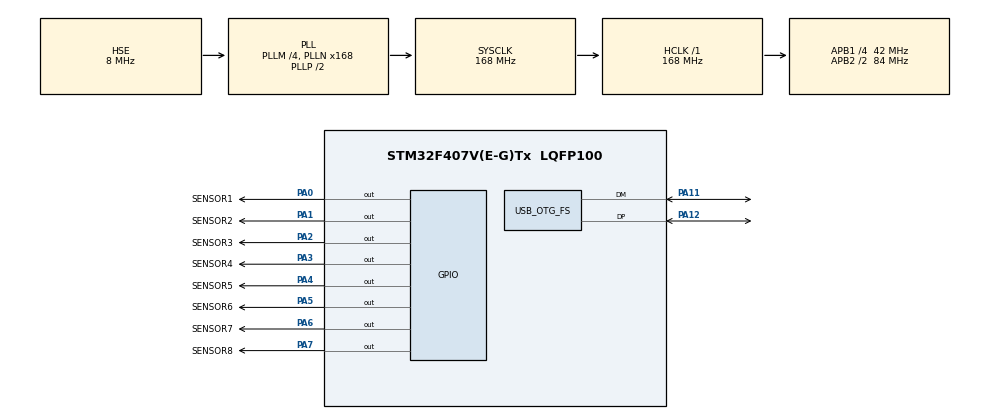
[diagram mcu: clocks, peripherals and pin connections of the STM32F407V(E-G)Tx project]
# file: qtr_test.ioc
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Mcu.Family=STM32F4
Mcu.Name=STM32F407V(E-G)Tx
Mcu.Package=LQFP100
NVIC.OTG_FS_IRQn=true\:0\:0\:false\:false\:true\:false\:true\:true
NVIC.PriorityGroup=NVIC_PRIORITYGROUP_0
PA0-WKUP.GPIO_Label=SENSOR1
PA0-WKUP.Signal=GPIO_Output
PA1.GPIO_Label=SENSOR2
PA1.Signal=GPIO_Output
PA11.Mode=Device_Only
PA11.Signal=USB_OTG_FS_DM
PA12.Mode=Device_Only
PA12.Signal=USB_OTG_FS_DP
PA2.GPIO_Label=SENSOR3
PA2.Signal=GPIO_Output
PA3.GPIO_Label=SENSOR4
PA3.Signal=GPIO_Output
PA4.GPIO_Label=SENSOR5
PA4.Signal=GPIO_Output
PA5.GPIO_Label=SENSOR6
PA5.Signal=GPIO_Output
PA6.GPIO_Label=SENSOR7
PA6.Signal=GPIO_Output
PA7.GPIO_Label=SENSOR8
PA7.Signal=GPIO_Output
PH0-OSC_IN.Mode=HSE-External-Oscillator
PH0-OSC_IN.Signal=RCC_OSC_IN
PH1-OSC_OUT.Mode=HSE-External-Oscillator
PH1-OSC_OUT.Signal=RCC_OSC_OUT
ProjectManager.HeapSize=0x200
ProjectManager.StackSize=0x400
ProjectManager.TargetToolchain=STM32CubeIDE
RCC.48MHZClocksFreq_Value=48000000
RCC.AHBFreq_Value=168000000
RCC.APB1CLKDivider=RCC_HCLK_DIV4
RCC.APB1Freq_Value=42000000
RCC.APB1TimFreq_Value=84000000
RCC.APB2CLKDivider=RCC_HCLK_DIV2
RCC.APB2Freq_Value=84000000
RCC.APB2TimFreq_Value=168000000
RCC.CortexFreq_Value=168000000
RCC.HCLKFreq_Value=168000000
RCC.HSE_VALUE=8000000
RCC.HSI_VALUE=16000000
RCC.LSE_VALUE=32768
RCC.PLLM=4
RCC.PLLN=168
RCC.PLLQ=7
RCC.SYSCLKFreq_VALUE=168000000
RCC.SYSCLKSource=RCC_SYSCLKSOURCE_PLLCLK
RCC.VCOOutputFreq_Value=336000000
TIM2.Period=65000
TIM2.Prescaler=20
USB_DEVICE.CLASS_NAME_FS=CDC
USB_DEVICE.PRODUCT_STRING_CDC_FS=STM32 Virtual Port
USB_DEVICE.VirtualMode-CDC_FS=Cdc
USB_DEVICE.VirtualModeFS=Cdc_FS
USB_OTG_FS.VirtualMode=Device_Only
VP_TIM2_VS_ClockSourceINT.Mode=Internal
VP_USB_DEVICE_VS_USB_DEVICE_CDC_FS.Mode=CDC_FS
board=STM32F407G-DISC1

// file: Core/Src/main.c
/* USER CODE BEGIN Header */
/**
 ******************************************************************************
 * @file           : main.c
 * @brief          : Main program body
 ******************************************************************************
 * @attention
 *
 *  Created on: JUIN, 2024
 *      Author: GARGOUCHAA
 */
******************************************************************************* /
/* USER CODE END Header */
#include "main.h"
#include "usb_device.h"
#include "usbd_cdc_if.h"
#include "string.h"
    /* Private includes ----------------------------------------------------------*/

    /* Private typedef -----------------------------------------------------------*/

    /* Private define ------------------------------------------------------------*/

    /* Private macro -------------------------------------------------------------*/

    /* Private variables ---------------------------------------------------------*/
    TIM_HandleTypeDef htim2;

/* USER CODE BEGIN PV */
uint32_t sensor_read = 0x00000000;
int pos1, pos2, pos3, pos4, pos5, pos6, pos7, pos8 = 0;
/* USER CODE END PV */

void SystemClock_Config(void);
static void MX_GPIO_Init(void);
static void MX_TIM2_Init(void);

/* USER CODE BEGIN 0 */
void delay_us(uint16_t us)
{
  __HAL_TIM_SET_COUNTER(&htim2, 0); // set the counter value a 0
  while (__HAL_TIM_GET_COUNTER(&htim2) < us)
    ; // wait for the counter to reach the us input in the parameter
}

void Set_Pin_Output(GPIO_TypeDef *GPIOx, uint16_t GPIO_Pin)
{
  GPIO_InitTypeDef GPIO_InitStruct = {0};
  GPIO_InitStruct.Pin = GPIO_Pin;
  GPIO_InitStruct.Mode = GPIO_MODE_OUTPUT_PP;
  GPIO_InitStruct.Pull = GPIO_NOPULL;
  GPIO_InitStruct.Speed = GPIO_SPEED_FREQ_LOW;
  HAL_GPIO_Init(GPIOx, &GPIO_InitStruct);
}

void Set_Pin_Input(GPIO_TypeDef *GPIOx, uint16_t GPIO_Pin)
{
  GPIO_InitTypeDef GPIO_InitStruct = {0};
  GPIO_InitStruct.Pin = GPIO_Pin;
  GPIO_InitStruct.Mode = GPIO_MODE_INPUT;
  GPIO_InitStruct.Pull = GPIO_PULLUP;
  HAL_GPIO_Init(GPIOx, &GPIO_InitStruct);
}

void QTR8_Test()
{
  Set_Pin_Output(SENSOR1_GPIO_Port, SENSOR1_Pin);
  Set_Pin_Output(SENSOR2_GPIO_Port, SENSOR2_Pin);
  Set_Pin_Output(SENSOR3_GPIO_Port, SENSOR3_Pin);
  Set_Pin_Output(SENSOR4_GPIO_Port, SENSOR4_Pin);
  Set_Pin_Output(SENSOR5_GPIO_Port, SENSOR5_Pin);
  Set_Pin_Output(SENSOR6_GPIO_Port, SENSOR6_Pin);
  Set_Pin_Output(SENSOR7_GPIO_Port, SENSOR7_Pin);
  Set_Pin_Output(SENSOR8_GPIO_Port, SENSOR8_Pin);

  HAL_GPIO_WritePin(SENSOR1_GPIO_Port, SENSOR1_Pin, 1);
  HAL_GPIO_WritePin(SENSOR2_GPIO_Port, SENSOR2_Pin, 1);
  HAL_GPIO_WritePin(SENSOR3_GPIO_Port, SENSOR3_Pin, 1);
  HAL_GPIO_WritePin(SENSOR4_GPIO_Port, SENSOR4_Pin, 1);
  HAL_GPIO_WritePin(SENSOR5_GPIO_Port, SENSOR5_Pin, 1);
  HAL_GPIO_WritePin(SENSOR6_GPIO_Port, SENSOR6_Pin, 1);
  HAL_GPIO_WritePin(SENSOR7_GPIO_Port, SENSOR7_Pin, 1);
  HAL_GPIO_WritePin(SENSOR8_GPIO_Port, SENSOR8_Pin, 1);
  delay_us(10);

  Set_Pin_Input(SENSOR1_GPIO_Port, SENSOR1_Pin);
  Set_Pin_Input(SENSOR2_GPIO_Port, SENSOR2_Pin);
  Set_Pin_Input(SENSOR3_GPIO_Port, SENSOR3_Pin);
  Set_Pin_Input(SENSOR4_GPIO_Port, SENSOR4_Pin);
  Set_Pin_Input(SENSOR5_GPIO_Port, SENSOR5_Pin);
  Set_Pin_Input(SENSOR6_GPIO_Port, SENSOR6_Pin);
  Set_Pin_Input(SENSOR7_GPIO_Port, SENSOR7_Pin);
  Set_Pin_Input(SENSOR8_GPIO_Port, SENSOR8_Pin);

  delay_us(10000);

  pos1 = 0, pos2 = 0, pos3 = 0, pos4 = 0, pos5 = 0, pos6 = 0, pos7 = 0, pos8 = 0;
  if (HAL_GPIO_ReadPin(SENSOR1_GPIO_Port, SENSOR1_Pin))
  {
    sensor_read |= 0x00000001;
    pos1 = 1000;
  }

  if (HAL_GPIO_ReadPin(SENSOR2_GPIO_Port, SENSOR2_Pin))
  {
    sensor_read |= 0x00000010;
    pos2 = 2000;
  }

  if (HAL_GPIO_ReadPin(SENSOR3_GPIO_Port, SENSOR3_Pin))
  {
    sensor_read |= 0x00000100;
    pos3 = 3000;
  }

  if (HAL_GPIO_ReadPin(SENSOR4_GPIO_Port, SENSOR4_Pin))
  {
    sensor_read |= 0x00001000;
    pos4 = 4000;
  }

  if (HAL_GPIO_ReadPin(SENSOR5_GPIO_Port, SENSOR5_Pin))
  {
    sensor_read |= 0x00010000;
    pos5 = 5000;
  }

  if (HAL_GPIO_ReadPin(SENSOR6_GPIO_Port, SENSOR6_Pin))
  {
    sensor_read |= 0x00100000;
    pos6 = 6000;
  }

  if (HAL_GPIO_ReadPin(SENSOR7_GPIO_Port, SENSOR7_Pin))
  {
    sensor_read |= 0x01000000;
    pos7 = 7000;
  }

  if (HAL_GPIO_ReadPin(SENSOR8_GPIO_Port, SENSOR8_Pin))
  {
    sensor_read |= 0x10000000;
    pos8 = 8000;
  }
}

/* USER CODE END 0 */

int main(void)
{

  /* MCU Configuration--------------------------------------------------------*/

  /* Reset of all peripherals, Initializes the Flash interface and the Systick. */
  HAL_Init();

  /* Configure the system clock */
  SystemClock_Config();

  /* Initialize all configured peripherals */
  MX_GPIO_Init();
  MX_TIM2_Init();
  MX_USB_DEVICE_Init();
  /* USER CODE BEGIN 2 */
  HAL_TIM_Base_Start(&htim2);
  /* USER CODE END 2 */

  /* Infinite loop */
  /* USER CODE BEGIN WHILE */
  while (1)
  {
    QTR8_Test();

    char buffer[1000];

    snprintf(buffer, sizeof(buffer), "Pos1 :%d  Pos2 :%d  Pos3 :%d  Pos4 :%d  Pos5 :%d  Pos6 :%d  Pos7 :%d  Pos8 :%d\n", pos1, pos2, pos3, pos4, pos5, pos6, pos7, pos8);

    CDC_Transmit_FS((uint8_t *)buffer, strlen(buffer));

    HAL_Delay(500);

    /* USER CODE END WHILE */

  }
}

void SystemClock_Config(void)
{
  RCC_OscInitTypeDef RCC_OscInitStruct = {0};
  RCC_ClkInitTypeDef RCC_ClkInitStruct = {0};

  /** Configure the main internal regulator output voltage
   */
  __HAL_RCC_PWR_CLK_ENABLE();
  __HAL_PWR_VOLTAGESCALING_CONFIG(PWR_REGULATOR_VOLTAGE_SCALE1);

  /** Initializes the RCC Oscillators according to the specified parameters
   * in the RCC_OscInitTypeDef structure.
   */
  RCC_OscInitStruct.OscillatorType = RCC_OSCILLATORTYPE_HSE;
  RCC_OscInitStruct.HSEState = RCC_HSE_ON;
  RCC_OscInitStruct.PLL.PLLState = RCC_PLL_ON;
  RCC_OscInitStruct.PLL.PLLSource = RCC_PLLSOURCE_HSE;
  RCC_OscInitStruct.PLL.PLLM = 4;
  RCC_OscInitStruct.PLL.PLLN = 168;
  RCC_OscInitStruct.PLL.PLLP = RCC_PLLP_DIV2;
  RCC_OscInitStruct.PLL.PLLQ = 7;
  if (HAL_RCC_OscConfig(&RCC_OscInitStruct) != HAL_OK)
  {
    Error_Handler();
  }

  /** Initializes the CPU, AHB and APB buses clocks
   */
  RCC_ClkInitStruct.ClockType = RCC_CLOCKTYPE_HCLK | RCC_CLOCKTYPE_SYSCLK | RCC_CLOCKTYPE_PCLK1 | RCC_CLOCKTYPE_PCLK2;
  RCC_ClkInitStruct.SYSCLKSource = RCC_SYSCLKSOURCE_PLLCLK;
  RCC_ClkInitStruct.AHBCLKDivider = RCC_SYSCLK_DIV1;
  RCC_ClkInitStruct.APB1CLKDivider = RCC_HCLK_DIV4;
  RCC_ClkInitStruct.APB2CLKDivider = RCC_HCLK_DIV2;

  if (HAL_RCC_ClockConfig(&RCC_ClkInitStruct, FLASH_LATENCY_5) != HAL_OK)
  {
    Error_Handler();
  }
}

static void MX_TIM2_Init(void)
{

  TIM_ClockConfigTypeDef sClockSourceConfig = {0};
  TIM_MasterConfigTypeDef sMasterConfig = {0};

  htim2.Instance = TIM2;
  htim2.Init.Prescaler = 20;
  htim2.Init.CounterMode = TIM_COUNTERMODE_UP;
  htim2.Init.Period = 65000;
  htim2.Init.ClockDivision = TIM_CLOCKDIVISION_DIV1;
  htim2.Init.AutoReloadPreload = TIM_AUTORELOAD_PRELOAD_DISABLE;
  if (HAL_TIM_Base_Init(&htim2) != HAL_OK)
  {
    Error_Handler();
  }
  sClockSourceConfig.ClockSource = TIM_CLOCKSOURCE_INTERNAL;
  if (HAL_TIM_ConfigClockSource(&htim2, &sClockSourceConfig) != HAL_OK)
  {
    Error_Handler();
  }
  sMasterConfig.MasterOutputTrigger = TIM_TRGO_RESET;
  sMasterConfig.MasterSlaveMode = TIM_MASTERSLAVEMODE_DISABLE;
  if (HAL_TIMEx_MasterConfigSynchronization(&htim2, &sMasterConfig) != HAL_OK)
  {
    Error_Handler();
  }
}

static void MX_GPIO_Init(void)
{
  GPIO_InitTypeDef GPIO_InitStruct = {0};

  /* GPIO Ports Clock Enable */
  __HAL_RCC_GPIOH_CLK_ENABLE();
  __HAL_RCC_GPIOA_CLK_ENABLE();

  /*Configure GPIO pin Output Level */
  HAL_GPIO_WritePin(GPIOA, SENSOR1_Pin | SENSOR2_Pin | SENSOR3_Pin | SENSOR4_Pin | SENSOR5_Pin | SENSOR6_Pin | SENSOR7_Pin | SENSOR8_Pin, GPIO_PIN_RESET);

  /*Configure GPIO pins : SENSOR1_Pin SENSOR2_Pin SENSOR3_Pin SENSOR4_Pin
                           SENSOR5_Pin SENSOR6_Pin SENSOR7_Pin SENSOR8_Pin */
  GPIO_InitStruct.Pin = SENSOR1_Pin | SENSOR2_Pin | SENSOR3_Pin | SENSOR4_Pin | SENSOR5_Pin | SENSOR6_Pin | SENSOR7_Pin | SENSOR8_Pin;
  GPIO_InitStruct.Mode = GPIO_MODE_OUTPUT_PP;
  GPIO_InitStruct.Pull = GPIO_NOPULL;
  GPIO_InitStruct.Speed = GPIO_SPEED_FREQ_LOW;
  HAL_GPIO_Init(GPIOA, &GPIO_InitStruct);

}

void Error_Handler(void)
{
  __disable_irq();
  while (1)
  {
  }
}
